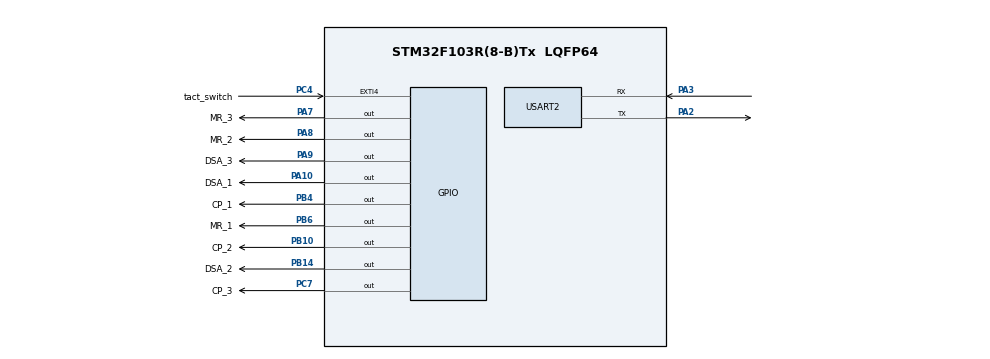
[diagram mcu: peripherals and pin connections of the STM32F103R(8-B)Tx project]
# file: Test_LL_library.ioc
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Mcu.Family=STM32F1
Mcu.Name=STM32F103R(8-B)Tx
Mcu.Package=LQFP64
NVIC.EXTI4_IRQn=true\:0\:0\:false\:false\:true\:true\:true\:true
NVIC.PriorityGroup=NVIC_PRIORITYGROUP_4
NVIC.TIM3_IRQn=true\:0\:0\:false\:false\:true\:true\:true\:true
PA10.GPIO_Label=DSA_1
PA10.Signal=GPIO_Output
PA13.GPIO_Label=TMS
PA13.Mode=Serial_Wire
PA13.Signal=SYS_JTMS-SWDIO
PA14.GPIO_Label=TCK
PA14.Mode=Serial_Wire
PA14.Signal=SYS_JTCK-SWCLK
PA2.Mode=Asynchronous
PA2.Signal=USART2_TX
PA3.Mode=Asynchronous
PA3.Signal=USART2_RX
PA7.GPIO_Label=MR_3
PA7.Signal=GPIO_Output
PA8.GPIO_Label=MR_2
PA8.Signal=GPIO_Output
PA9.GPIO_Label=DSA_3
PA9.Signal=GPIO_Output
PB10.GPIO_Label=CP_2
PB10.Signal=GPIO_Output
PB14.GPIO_Label=DSA_2
PB14.Signal=GPIO_Output
PB3.Signal=SYS_JTDO-TRACESWO
PB4.GPIO_Label=CP_1
PB4.Signal=GPIO_Output
PB6.GPIO_Label=MR_1
PB6.Signal=GPIO_Output
PC4.GPIO_Label=tact_switch
PC4.GPIO_ModeDefaultEXTI=GPIO_MODE_IT_FALLING
PC4.GPIO_PuPd=GPIO_NOPULL
PC4.Signal=GPXTI4
PC7.GPIO_Label=CP_3
PC7.Signal=GPIO_Output
ProjectManager.HeapSize=0x200
ProjectManager.StackSize=0x400
ProjectManager.TargetToolchain=STM32CubeIDE
RCC.AHBFreq_Value=64000000
RCC.APB1CLKDivider=RCC_HCLK_DIV2
RCC.APB1Freq_Value=32000000
RCC.APB1TimFreq_Value=64000000
RCC.APB2Freq_Value=64000000
RCC.APB2TimFreq_Value=64000000
RCC.HCLKFreq_Value=64000000
RCC.PLLMUL=RCC_PLL_MUL16
RCC.RTCClockSelection=RCC_RTCCLKSOURCE_LSE
RCC.SYSCLKFreq_VALUE=64000000
RCC.SYSCLKSource=RCC_SYSCLKSOURCE_PLLCLK
RCC.USBFreq_Value=64000000
TIM2.Period=65535
TIM2.Prescaler=63
TIM2.TIM_MasterOutputTrigger=TIM_TRGO_RESET
TIM2.TIM_MasterSlaveMode=TIM_MASTERSLAVEMODE_DISABLE
TIM3.Period=200
TIM3.Prescaler=64000-1
USART2.VirtualMode=VM_ASYNC
VP_TIM2_VS_ClockSourceINT.Mode=Internal
VP_TIM3_VS_ClockSourceINT.Mode=Internal
board=NUCLEO-F103RB

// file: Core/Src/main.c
/* USER CODE BEGIN Header */
/**
  ******************************************************************************
  * @file           : main.c
  * @brief          : Main program body
  ******************************************************************************
  * @attention
  *
  * Copyright (c) 2024 STMicroelectronics.
  * All rights reserved.
  *
  * This software is licensed under terms that can be found in the LICENSE file
  * in the root directory of this software component.
  * If no LICENSE file comes with this software, it is provided AS-IS.
  *
  ******************************************************************************
  */
/* USER CODE END Header */
#include "main.h"

/* USER CODE BEGIN PV */
unsigned char dotMatrixBoard_yellow[ROWS][COLS] = {
		  {1, 1, 0, 0, 0, 0, 1, 1},
		  {1, 1, 0, 0, 0, 0, 1, 1},
		  {0, 0, 1, 0, 0, 0, 0, 0},
		  {0, 0, 0, 0, 0, 0, 0, 0},
		  {0, 0, 0, 0, 0, 0, 0, 0},
		  {0, 0, 0, 0, 0, 0, 0, 0},
		  {0, 0, 0, 0, 0, 0, 0, 0},
		  {0, 0, 0, 0, 0, 0, 0, 0}
  };
  unsigned char dotMatrixBoard_red[ROWS][COLS] = {
  		  {0, 0, 0, 0, 0, 0, 0, 0},
  		  {0, 0, 0, 0, 0, 0, 0, 0},
  		  {0, 0, 1, 0, 0, 0, 0, 0},
  		  {0, 0, 0, 0, 0, 0, 0, 0},
  		  {0, 0, 0, 0, 0, 0, 0, 0},
  		  {0, 0, 0, 0, 0, 0, 0, 0},
  		  {1, 1, 0, 0, 0, 0, 1, 1},
  		  {1, 1, 0, 0, 0, 0, 1, 1}
    };

  int next_yellow_yes = 0;
  int next_red_yes=0;
/* USER CODE END PV */

void SystemClock_Config(void);
static void MX_GPIO_Init(void);
static void MX_USART2_UART_Init(void);
static void MX_TIM2_Init(void);
static void MX_TIM3_Init(void);

/* USER CODE BEGIN 0 */
int time_gap=1;
char buffer_[50];
/* USER CODE END 0 */

int main(void)
{

  /* MCU Configuration--------------------------------------------------------*/

  /* Reset of all peripherals, Initializes the Flash interface and the Systick. */
  LL_APB2_GRP1_EnableClock(LL_APB2_GRP1_PERIPH_AFIO);
  LL_APB1_GRP1_EnableClock(LL_APB1_GRP1_PERIPH_PWR);

  /* System interrupt init*/
  NVIC_SetPriorityGrouping(NVIC_PRIORITYGROUP_4);

  /** NOJTAG: JTAG-DP Disabled and SW-DP Enabled
  */
  LL_GPIO_AF_Remap_SWJ_NOJTAG();

  /* Configure the system clock */
  SystemClock_Config();

  /* Initialize all configured peripherals */
  MX_GPIO_Init();
  MX_USART2_UART_Init();
  MX_TIM2_Init();
  MX_TIM3_Init();
  /* USER CODE BEGIN 2 */

  int count=0;
  char buffer_[15];
  char buffer_2[15];

  //write_serial_in_parallel_out_register(data_8bit_ex12);
//  write_serial_in_parallel_out_register_minus(0b10011001);
//  write_serial_in_parallel_out_register_plus(0b01000000);
//
//  write_serial_in_parallel_out_register_minus(0b00000000);
//  write_serial_in_parallel_out_register_plus(0b00100000);

  //WRITE_REG(TIM2->CCR1, 100);

  //LL_TIM_DisableIT_UPDATE(TIM2);
  //LL_TIM_EnableIT_CC1(TIM2);  //TIM2->DIER register CC1IE bit. (ENABLE)
  //LL_TIM_CC_EnableChannel(TIM2, LL_TIM_CHANNEL_CH1); //CCER register CC1E bit. (ENABLE)
  LL_TIM_EnableIT_UPDATE(TIM3); //TIM3->DIER register UIE bit (ENABLE)

  /* choose to which to Off color */
  //write_serial_in_parallel_out_register_minus_red(0b11111111);
  //write_serial_in_parallel_out_register_minus_yellow(0b11111111);

  /* USER CODE END 2 */

  /* Infinite loop */
  /* USER CODE BEGIN WHILE */
  while (1)
  {

	  //row:0
	  write_serial_in_parallel_out_register_plus(0b10000000);
	  write_serial_in_parallel_out_register_minus_yellow(rowToBinary(dotMatrixBoard_yellow, 0));
	  write_serial_in_parallel_out_register_minus_red(rowToBinary(dotMatrixBoard_red, 0));
	  LL_mDelay(1);
	  //row:1
	  write_serial_in_parallel_out_register_plus(0b01000000);
	  write_serial_in_parallel_out_register_minus_yellow(rowToBinary(dotMatrixBoard_yellow, 1));
	  write_serial_in_parallel_out_register_minus_red(rowToBinary(dotMatrixBoard_red, 1));
	  LL_mDelay(1);
	  //row:2
	  write_serial_in_parallel_out_register_plus(0b00100000);
	  write_serial_in_parallel_out_register_minus_yellow(rowToBinary(dotMatrixBoard_yellow, 2));
	  write_serial_in_parallel_out_register_minus_red(rowToBinary(dotMatrixBoard_red, 2));
	  LL_mDelay(1);
	  //row:3
	  write_serial_in_parallel_out_register_plus(0b00010000);
	  write_serial_in_parallel_out_register_minus_yellow(rowToBinary(dotMatrixBoard_yellow, 3));
	  write_serial_in_parallel_out_register_minus_red(rowToBinary(dotMatrixBoard_red, 3));
	  LL_mDelay(1);
	  //row:4
	  write_serial_in_parallel_out_register_plus(0b00001000);
	  write_serial_in_parallel_out_register_minus_yellow(rowToBinary(dotMatrixBoard_yellow, 4));
	  write_serial_in_parallel_out_register_minus_red(rowToBinary(dotMatrixBoard_red, 4));
	  LL_mDelay(1);
	  //row:5
	  write_serial_in_parallel_out_register_plus(0b00000100);
	  write_serial_in_parallel_out_register_minus_yellow(rowToBinary(dotMatrixBoard_yellow, 5));
	  write_serial_in_parallel_out_register_minus_red(rowToBinary(dotMatrixBoard_red, 5));
	  LL_mDelay(1);
	  //row:6
	  write_serial_in_parallel_out_register_plus(0b00000010);
	  write_serial_in_parallel_out_register_minus_yellow(rowToBinary(dotMatrixBoard_yellow, 6));
	  write_serial_in_parallel_out_register_minus_red(rowToBinary(dotMatrixBoard_red, 6));
	  LL_mDelay(1);
	  //row:7
	  write_serial_in_parallel_out_register_plus(0b00000001);
	  write_serial_in_parallel_out_register_minus_yellow(rowToBinary(dotMatrixBoard_yellow, 7));
	  write_serial_in_parallel_out_register_minus_red(rowToBinary(dotMatrixBoard_red, 7));
	  LL_mDelay(1);

//	  sprintf(buffer_, "%d", count);
//	  UART2_TX_string("count : ");
//	  UART2_TX_string(buffer_);
//	  UART2_TX_string("\r\n");

    /* USER CODE END WHILE */

    /* USER CODE BEGIN 3 */
  }  //while loop
  /* USER CODE END 3 */
}

void SystemClock_Config(void)
{
  LL_FLASH_SetLatency(LL_FLASH_LATENCY_2);
  while(LL_FLASH_GetLatency()!= LL_FLASH_LATENCY_2)
  {
  }
  LL_RCC_HSI_SetCalibTrimming(16);
  LL_RCC_HSI_Enable();

   /* Wait till HSI is ready */
  while(LL_RCC_HSI_IsReady() != 1)
  {

  }
  LL_RCC_PLL_ConfigDomain_SYS(LL_RCC_PLLSOURCE_HSI_DIV_2, LL_RCC_PLL_MUL_16);
  LL_RCC_PLL_Enable();

   /* Wait till PLL is ready */
  while(LL_RCC_PLL_IsReady() != 1)
  {

  }
  LL_RCC_SetAHBPrescaler(LL_RCC_SYSCLK_DIV_1);
  LL_RCC_SetAPB1Prescaler(LL_RCC_APB1_DIV_2);
  LL_RCC_SetAPB2Prescaler(LL_RCC_APB2_DIV_1);
  LL_RCC_SetSysClkSource(LL_RCC_SYS_CLKSOURCE_PLL);

   /* Wait till System clock is ready */
  while(LL_RCC_GetSysClkSource() != LL_RCC_SYS_CLKSOURCE_STATUS_PLL)
  {

  }
  LL_Init1msTick(64000000);
  LL_SetSystemCoreClock(64000000);
}

static void MX_TIM2_Init(void)
{

  LL_TIM_InitTypeDef TIM_InitStruct = {0};

  /* Peripheral clock enable */
  LL_APB1_GRP1_EnableClock(LL_APB1_GRP1_PERIPH_TIM2);

  TIM_InitStruct.Prescaler = 63;
  TIM_InitStruct.CounterMode = LL_TIM_COUNTERMODE_UP;
  TIM_InitStruct.Autoreload = 65535;
  TIM_InitStruct.ClockDivision = LL_TIM_CLOCKDIVISION_DIV1;
  LL_TIM_Init(TIM2, &TIM_InitStruct);
  LL_TIM_DisableARRPreload(TIM2);
  LL_TIM_SetClockSource(TIM2, LL_TIM_CLOCKSOURCE_INTERNAL);
  LL_TIM_SetTriggerOutput(TIM2, LL_TIM_TRGO_RESET);
  LL_TIM_DisableMasterSlaveMode(TIM2);

}

static void MX_TIM3_Init(void)
{

  LL_TIM_InitTypeDef TIM_InitStruct = {0};

  /* Peripheral clock enable */
  LL_APB1_GRP1_EnableClock(LL_APB1_GRP1_PERIPH_TIM3);

  /* TIM3 interrupt Init */
  NVIC_SetPriority(TIM3_IRQn, NVIC_EncodePriority(NVIC_GetPriorityGrouping(),0, 0));
  NVIC_EnableIRQ(TIM3_IRQn);

  TIM_InitStruct.Prescaler = 64000-LL_TIM_IC_FILTER_FDIV1_N2;
  TIM_InitStruct.CounterMode = LL_TIM_COUNTERMODE_UP;
  TIM_InitStruct.Autoreload = 200;
  TIM_InitStruct.ClockDivision = LL_TIM_CLOCKDIVISION_DIV1;
  LL_TIM_Init(TIM3, &TIM_InitStruct);
  LL_TIM_DisableARRPreload(TIM3);
  LL_TIM_SetClockSource(TIM3, LL_TIM_CLOCKSOURCE_INTERNAL);
  LL_TIM_SetTriggerOutput(TIM3, LL_TIM_TRGO_RESET);
  LL_TIM_DisableMasterSlaveMode(TIM3);

}

static void MX_USART2_UART_Init(void)
{

  LL_USART_InitTypeDef USART_InitStruct = {0};

  LL_GPIO_InitTypeDef GPIO_InitStruct = {0};

  /* Peripheral clock enable */
  LL_APB1_GRP1_EnableClock(LL_APB1_GRP1_PERIPH_USART2);

  LL_APB2_GRP1_EnableClock(LL_APB2_GRP1_PERIPH_GPIOA);
  /**USART2 GPIO Configuration
  PA2   ------> USART2_TX
  PA3   ------> USART2_RX
  */
  GPIO_InitStruct.Pin = LL_GPIO_PIN_2;
  GPIO_InitStruct.Mode = LL_GPIO_MODE_ALTERNATE;
  GPIO_InitStruct.Speed = LL_GPIO_SPEED_FREQ_HIGH;
  GPIO_InitStruct.OutputType = LL_GPIO_OUTPUT_PUSHPULL;
  LL_GPIO_Init(GPIOA, &GPIO_InitStruct);

  GPIO_InitStruct.Pin = LL_GPIO_PIN_3;
  GPIO_InitStruct.Mode = LL_GPIO_MODE_FLOATING;
  LL_GPIO_Init(GPIOA, &GPIO_InitStruct);

  USART_InitStruct.BaudRate = 115200;
  USART_InitStruct.DataWidth = LL_USART_DATAWIDTH_8B;
  USART_InitStruct.StopBits = LL_USART_STOPBITS_1;
  USART_InitStruct.Parity = LL_USART_PARITY_NONE;
  USART_InitStruct.TransferDirection = LL_USART_DIRECTION_TX_RX;
  USART_InitStruct.HardwareFlowControl = LL_USART_HWCONTROL_NONE;
  USART_InitStruct.OverSampling = LL_USART_OVERSAMPLING_16;
  LL_USART_Init(USART2, &USART_InitStruct);
  LL_USART_ConfigAsyncMode(USART2);
  LL_USART_Enable(USART2);

}

static void MX_GPIO_Init(void)
{
  LL_EXTI_InitTypeDef EXTI_InitStruct = {0};
  LL_GPIO_InitTypeDef GPIO_InitStruct = {0};

  /* GPIO Ports Clock Enable */
  LL_APB2_GRP1_EnableClock(LL_APB2_GRP1_PERIPH_GPIOA);
  LL_APB2_GRP1_EnableClock(LL_APB2_GRP1_PERIPH_GPIOC);
  LL_APB2_GRP1_EnableClock(LL_APB2_GRP1_PERIPH_GPIOB);

  /**/
  LL_GPIO_ResetOutputPin(GPIOA, MR_3_Pin|MR_2_Pin|DSA_3_Pin|DSA_1_Pin);

  /**/
  LL_GPIO_ResetOutputPin(GPIOB, CP_2_Pin|DSA_2_Pin|CP_1_Pin|MR_1_Pin);

  /**/
  LL_GPIO_ResetOutputPin(CP_3_GPIO_Port, CP_3_Pin);

  /**/
  GPIO_InitStruct.Pin = MR_3_Pin|MR_2_Pin|DSA_3_Pin|DSA_1_Pin;
  GPIO_InitStruct.Mode = LL_GPIO_MODE_OUTPUT;
  GPIO_InitStruct.Speed = LL_GPIO_SPEED_FREQ_LOW;
  GPIO_InitStruct.OutputType = LL_GPIO_OUTPUT_PUSHPULL;
  LL_GPIO_Init(GPIOA, &GPIO_InitStruct);

  /**/
  GPIO_InitStruct.Pin = CP_2_Pin|DSA_2_Pin|CP_1_Pin|MR_1_Pin;
  GPIO_InitStruct.Mode = LL_GPIO_MODE_OUTPUT;
  GPIO_InitStruct.Speed = LL_GPIO_SPEED_FREQ_LOW;
  GPIO_InitStruct.OutputType = LL_GPIO_OUTPUT_PUSHPULL;
  LL_GPIO_Init(GPIOB, &GPIO_InitStruct);

  /**/
  GPIO_InitStruct.Pin = CP_3_Pin;
  GPIO_InitStruct.Mode = LL_GPIO_MODE_OUTPUT;
  GPIO_InitStruct.Speed = LL_GPIO_SPEED_FREQ_LOW;
  GPIO_InitStruct.OutputType = LL_GPIO_OUTPUT_PUSHPULL;
  LL_GPIO_Init(CP_3_GPIO_Port, &GPIO_InitStruct);

  /**/
  LL_GPIO_AF_SetEXTISource(LL_GPIO_AF_EXTI_PORTC, LL_GPIO_AF_EXTI_LINE4);

  /**/
  EXTI_InitStruct.Line_0_31 = LL_EXTI_LINE_4;
  EXTI_InitStruct.LineCommand = ENABLE;
  EXTI_InitStruct.Mode = LL_EXTI_MODE_IT;
  EXTI_InitStruct.Trigger = LL_EXTI_TRIGGER_FALLING;
  LL_EXTI_Init(&EXTI_InitStruct);

  /**/
  LL_GPIO_SetPinMode(tact_switch_GPIO_Port, tact_switch_Pin, LL_GPIO_MODE_FLOATING);

  /* EXTI interrupt init*/
  NVIC_SetPriority(EXTI4_IRQn, NVIC_EncodePriority(NVIC_GetPriorityGrouping(),0, 0));
  NVIC_EnableIRQ(EXTI4_IRQn);

}

/* USER CODE BEGIN 4 */

void led_blink_example_code(void){

	LL_GPIO_SetOutputPin(GPIOA, LL_GPIO_PIN_9);
	LL_GPIO_SetOutputPin(GPIOA, LL_GPIO_PIN_10);
	LL_mDelay(100);  //1 second delay.
	LL_GPIO_ResetOutputPin(GPIOA, LL_GPIO_PIN_9);
	LL_GPIO_ResetOutputPin(GPIOA, LL_GPIO_PIN_10);
	LL_mDelay(100);  //1 second delay.

}

void UART2_TX_string(char* str){
	while(*str){
		while(!LL_USART_IsActiveFlag_TXE(USART2));

		LL_USART_TransmitData8(USART2, *str);
		str++;
	}
}

void led_serial_in_parallel_out_example_1(void){
	LL_GPIO_SetOutputPin(GPIOB, LL_GPIO_PIN_5); //data=high
	LL_mDelay(100);

	LL_GPIO_SetOutputPin(GPIOA, LL_GPIO_PIN_10);  //clock pulse 1
	LL_mDelay(100);
	LL_GPIO_ResetOutputPin(GPIOA, LL_GPIO_PIN_10);
	LL_mDelay(100);
	LL_GPIO_SetOutputPin(GPIOA, LL_GPIO_PIN_10);  //clock pulse 2
	LL_mDelay(100);
	LL_GPIO_ResetOutputPin(GPIOA, LL_GPIO_PIN_10);
	LL_mDelay(100);
	LL_GPIO_SetOutputPin(GPIOA, LL_GPIO_PIN_10);  //clock pulse 3
	LL_mDelay(100);
	LL_GPIO_ResetOutputPin(GPIOA, LL_GPIO_PIN_10);
	LL_mDelay(100);

	LL_GPIO_ResetOutputPin(GPIOB, LL_GPIO_PIN_5); //data=low
	LL_mDelay(100);

	LL_GPIO_SetOutputPin(GPIOA, LL_GPIO_PIN_10);  //clock pulse 1
	LL_mDelay(100);
	LL_GPIO_ResetOutputPin(GPIOA, LL_GPIO_PIN_10);
	LL_mDelay(100);
	LL_GPIO_SetOutputPin(GPIOA, LL_GPIO_PIN_10);  //clock pulse 2
	LL_mDelay(100);
	LL_GPIO_ResetOutputPin(GPIOA, LL_GPIO_PIN_10);
	LL_mDelay(100);
	LL_GPIO_SetOutputPin(GPIOA, LL_GPIO_PIN_10);  //clock pulse 3
	LL_mDelay(100);
	LL_GPIO_ResetOutputPin(GPIOA, LL_GPIO_PIN_10);
	LL_mDelay(100);
}

void write_serial_in_parallel_out_register_plus(unsigned char data){
	/*
	 *                Q0  Q1  Q2  Q3  Q4  Q5  Q6  Q7(------>)
	 *      data      1    1   0   0   0  0   0   1
	 *
	 *
	 */
	//all reset
	LL_GPIO_ResetOutputPin(GPIOA, LL_GPIO_PIN_8);
	delay_us(1);
	LL_GPIO_SetOutputPin(GPIOA, LL_GPIO_PIN_8);

	//Q7
	unsigned int bitValue = bitRead(data, 0);

	switch(bitValue){
		case 0 :
			LL_GPIO_ResetOutputPin(GPIOB, LL_GPIO_PIN_14); //data=low
			break;

		case 1 :
			LL_GPIO_SetOutputPin(GPIOB, LL_GPIO_PIN_14); //data=high
			break;

	}

	delay_us(1);

	LL_GPIO_SetOutputPin(GPIOB, LL_GPIO_PIN_10);  //clock pulse 1

	delay_us(1);
	LL_GPIO_ResetOutputPin(GPIOB, LL_GPIO_PIN_10);

	delay_us(1);

	//Q6
	bitValue = bitRead(data, 1);
	switch(bitValue){
		case 0 :
			LL_GPIO_ResetOutputPin(GPIOB, LL_GPIO_PIN_14); //data=low
			break;

		case 1 :
			LL_GPIO_SetOutputPin(GPIOB, LL_GPIO_PIN_14); //data=high
			break;

	}

	delay_us(1);

	LL_GPIO_SetOutputPin(GPIOB, LL_GPIO_PIN_10);  //clock pulse 2

	delay_us(1);
	LL_GPIO_ResetOutputPin(GPIOB, LL_GPIO_PIN_10);

	delay_us(1);

	//Q5
	bitValue = bitRead(data, 2);
	switch(bitValue){
		case 0 :
			LL_GPIO_ResetOutputPin(GPIOB, LL_GPIO_PIN_14); //data=low
			break;

		case 1 :
			LL_GPIO_SetOutputPin(GPIOB, LL_GPIO_PIN_14); //data=high
			break;

	}

	delay_us(1);
	LL_GPIO_SetOutputPin(GPIOB, LL_GPIO_PIN_10);  //clock pulse 3

	delay_us(1);
	LL_GPIO_ResetOutputPin(GPIOB, LL_GPIO_PIN_10);

	delay_us(1);

	//Q4
	bitValue = bitRead(data, 3);
	switch(bitValue){
		case 0 :
			LL_GPIO_ResetOutputPin(GPIOB, LL_GPIO_PIN_14); //data=low
			break;

		case 1 :
			LL_GPIO_SetOutputPin(GPIOB, LL_GPIO_PIN_14); //data=high
			break;

	}

	delay_us(1);

	LL_GPIO_SetOutputPin(GPIOB, LL_GPIO_PIN_10);  //clock pulse 4

	delay_us(1);
	LL_GPIO_ResetOutputPin(GPIOB, LL_GPIO_PIN_10);

	delay_us(1);

	//Q3
	bitValue = bitRead(data, 4);
	switch(bitValue){
		case 0 :
			LL_GPIO_ResetOutputPin(GPIOB, LL_GPIO_PIN_14); //data=low
			break;

		case 1 :
			LL_GPIO_SetOutputPin(GPIOB, LL_GPIO_PIN_14); //data=high
			break;

	}

	delay_us(1);

	LL_GPIO_SetOutputPin(GPIOB, LL_GPIO_PIN_10);  //clock pulse 5

	delay_us(1);
	LL_GPIO_ResetOutputPin(GPIOB, LL_GPIO_PIN_10);

	delay_us(1);

	//Q2
	bitValue = bitRead(data, 5);
	switch(bitValue){
		case 0 :
			LL_GPIO_ResetOutputPin(GPIOB, LL_GPIO_PIN_14); //data=low
			break;

		case 1 :
			LL_GPIO_SetOutputPin(GPIOB, LL_GPIO_PIN_14); //data=high
			break;

	}

	delay_us(1);
	LL_GPIO_SetOutputPin(GPIOB, LL_GPIO_PIN_10);  //clock pulse 6

	delay_us(1);
	LL_GPIO_ResetOutputPin(GPIOB, LL_GPIO_PIN_10);

	delay_us(1);

	//Q1
	bitValue = bitRead(data, 6);
	switch(bitValue){
		case 0 :
			LL_GPIO_ResetOutputPin(GPIOB, LL_GPIO_PIN_14); //data=low
			break;

		case 1 :
			LL_GPIO_SetOutputPin(GPIOB, LL_GPIO_PIN_14); //data=high
			break;

	}

	delay_us(1);

	LL_GPIO_SetOutputPin(GPIOB, LL_GPIO_PIN_10);  //clock pulse 7

	delay_us(1);
	LL_GPIO_ResetOutputPin(GPIOB, LL_GPIO_PIN_10);

	delay_us(1);

	//Q0
	bitValue = bitRead(data, 7);
	switch(bitValue){
		case 0 :
			LL_GPIO_ResetOutputPin(GPIOB, LL_GPIO_PIN_14); //data=low
			break;

		case 1 :
			LL_GPIO_SetOutputPin(GPIOB, LL_GPIO_PIN_14); //data=high
			break;

	}

	delay_us(1);

	LL_GPIO_SetOutputPin(GPIOB, LL_GPIO_PIN_10);  //clock pulse 8

	delay_us(1);
	LL_GPIO_ResetOutputPin(GPIOB, LL_GPIO_PIN_10);

	delay_us(1);

}

void write_serial_in_parallel_out_register_minus(unsigned char data){
	/*
	 *                Q0  Q1  Q2  Q3  Q4  Q5  Q6  Q7(------>)
	 *      data      1    1   0   0   0  0   0   1
	 *
	 *
	 */
	//all reset
	LL_GPIO_ResetOutputPin(GPIOA, LL_GPIO_PIN_6);
	//LL_mDelay(2);
	//delayus(100);
	//LL_mDelay(time_gap);
	delay_us(1);
	LL_GPIO_SetOutputPin(GPIOA, LL_GPIO_PIN_6);

	//Q7
	unsigned int bitValue = bitRead(data, 0);

	switch(bitValue){
		case 0 :
			LL_GPIO_ResetOutputPin(GPIOB, LL_GPIO_PIN_6); //data=low
			break;

		case 1 :
			LL_GPIO_SetOutputPin(GPIOB, LL_GPIO_PIN_6); //data=high
			break;

	}
	//LL_mDelay(1);
	//delayus(100);
	//LL_mDelay(time_gap);
	delay_us(1);

	LL_GPIO_SetOutputPin(GPIOA, LL_GPIO_PIN_7);  //clock pulse 1
	//LL_mDelay(1);
	//delayus(100);
	//LL_mDelay(time_gap);
	delay_us(1);
	LL_GPIO_ResetOutputPin(GPIOA, LL_GPIO_PIN_7);
	//LL_mDelay(1);
	//delayus(100);
	//LL_mDelay(time_gap);
	delay_us(1);

	//Q6
	bitValue = bitRead(data, 1);
	switch(bitValue){
		case 0 :
			LL_GPIO_ResetOutputPin(GPIOB, LL_GPIO_PIN_6); //data=low
			break;

		case 1 :
			LL_GPIO_SetOutputPin(GPIOB, LL_GPIO_PIN_6); //data=high
			break;

	}
	//LL_mDelay(1);
	//delayus(100);
	//LL_mDelay(time_gap);
	delay_us(1);

	LL_GPIO_SetOutputPin(GPIOA, LL_GPIO_PIN_7);  //clock pulse 2
	//LL_mDelay(1);
	//delayus(100);
	//LL_mDelay(time_gap);
	delay_us(1);
	LL_GPIO_ResetOutputPin(GPIOA, LL_GPIO_PIN_7);
	//LL_mDelay(1);
	//delayus(100);
	//LL_mDelay(time_gap);
	delay_us(1);

	//Q5
	bitValue = bitRead(data, 2);
	switch(bitValue){
		case 0 :
			LL_GPIO_ResetOutputPin(GPIOB, LL_GPIO_PIN_6); //data=low
			break;

		case 1 :
			LL_GPIO_SetOutputPin(GPIOB, LL_GPIO_PIN_6); //data=high
			break;

	}
	//LL_mDelay(2);
	//delayus(100);
	//LL_mDelay(time_gap);
	delay_us(1);

	LL_GPIO_SetOutputPin(GPIOA, LL_GPIO_PIN_7);  //clock pulse 3
	//LL_mDelay(1);
	//delayus(100);
	//LL_mDelay(time_gap);
	delay_us(1);
	LL_GPIO_ResetOutputPin(GPIOA, LL_GPIO_PIN_7);
	//LL_mDelay(1);
	//delayus(100);
	//LL_mDelay(time_gap);
	delay_us(1);

	//Q4
	bitValue = bitRead(data, 3);
	switch(bitValue){
		case 0 :
			LL_GPIO_ResetOutputPin(GPIOB, LL_GPIO_PIN_6); //data=low
			break;

		case 1 :
			LL_GPIO_SetOutputPin(GPIOB, LL_GPIO_PIN_6); //data=high
			break;

	}
	//LL_mDelay(2);
	//delayus(100);
	//LL_mDelay(time_gap);
	delay_us(1);
	LL_GPIO_SetOutputPin(GPIOA, LL_GPIO_PIN_7);  //clock pulse 4
	//LL_mDelay(1);
	//delayus(100);
	//LL_mDelay(time_gap);
	delay_us(1);
	LL_GPIO_ResetOutputPin(GPIOA, LL_GPIO_PIN_7);
	//LL_mDelay(1);
	//delayus(100);
	//LL_mDelay(time_gap);
	delay_us(1);

	//Q3
	bitValue = bitRead(data, 4);
	switch(bitValue){
		case 0 :
			LL_GPIO_ResetOutputPin(GPIOB, LL_GPIO_PIN_6); //data=low
			break;

		case 1 :
			LL_GPIO_SetOutputPin(GPIOB, LL_GPIO_PIN_6); //data=high
			break;

	}
	//LL_mDelay(2);
	//delayus(100);
	//LL_mDelay(time_gap);
	delay_us(1);

	LL_GPIO_SetOutputPin(GPIOA, LL_GPIO_PIN_7);  //clock pulse 5
	//LL_mDelay(1);
	//delayus(100);
	//LL_mDelay(time_gap);
	delay_us(1);
	LL_GPIO_ResetOutputPin(GPIOA, LL_GPIO_PIN_7);
	//LL_mDelay(1);
	//delayus(100);
	//LL_mDelay(time_gap);
	delay_us(1);

	//Q2
	bitValue = bitRead(data, 5);
	switch(bitValue){
		case 0 :
			LL_GPIO_ResetOutputPin(GPIOB, LL_GPIO_PIN_6); //data=low
			break;

		case 1 :
			LL_GPIO_SetOutputPin(GPIOB, LL_GPIO_PIN_6); //data=high
			break;

	}
	//LL_mDelay(2);
	//delayus(100);
	//LL_mDelay(time_gap);
	delay_us(1);
	LL_GPIO_SetOutputPin(GPIOA, LL_GPIO_PIN_7);  //clock pulse 6
	//LL_mDelay(1);
	//delayus(100);
	//LL_mDelay(time_gap);
	delay_us(1);
	LL_GPIO_ResetOutputPin(GPIOA, LL_GPIO_PIN_7);
	//LL_mDelay(1);
	//delayus(100);
	//LL_mDelay(time_gap);
	delay_us(1);

	//Q1
	bitValue = bitRead(data, 6);
	switch(bitValue){
		case 0 :
			LL_GPIO_ResetOutputPin(GPIOB, LL_GPIO_PIN_6); //data=low
			break;

		case 1 :
			LL_GPIO_SetOutputPin(GPIOB, LL_GPIO_PIN_6); //data=high
			break;

	}
	//LL_mDelay(2);
	//delayus(100);
	//LL_mDelay(time_gap);
	delay_us(1);

	LL_GPIO_SetOutputPin(GPIOA, LL_GPIO_PIN_7);  //clock pulse 7
	//LL_mDelay(1);
	//delayus(100);
	//LL_mDelay(time_gap);
	delay_us(1);
	LL_GPIO_ResetOutputPin(GPIOA, LL_GPIO_PIN_7);
	//LL_mDelay(1);
	//delayus(100);
	//LL_mDelay(time_gap);
	delay_us(1);

	//Q0
	bitValue = bitRead(data, 7);
	switch(bitValue){
		case 0 :
			LL_GPIO_ResetOutputPin(GPIOB, LL_GPIO_PIN_6); //data=low
			break;

		case 1 :
			LL_GPIO_SetOutputPin(GPIOB, LL_GPIO_PIN_6); //data=high
			break;

	}
	//LL_mDelay(2);
	//delayus(100);
	//LL_mDelay(time_gap);
	delay_us(1);

	LL_GPIO_SetOutputPin(GPIOA, LL_GPIO_PIN_7);  //clock pulse 8
	//LL_mDelay(1);
	//delayus(100);
	//LL_mDelay(time_gap);
	delay_us(1);
	LL_GPIO_ResetOutputPin(GPIOA, LL_GPIO_PIN_7);
	//LL_mDelay(1);
	//delayus(100);
	//LL_mDelay(time_gap);
	delay_us(1);

}

void write_serial_in_parallel_out_register_minus_yellow(unsigned char data){
	/*
	 *                Q0  Q1  Q2  Q3  Q4  Q5  Q6  Q7(------>)
	 *      data      1    1   0   0   0  0   0   1
	 *
	 *
	 */
	//all reset
	LL_GPIO_ResetOutputPin(GPIOB, LL_GPIO_PIN_6);
	delay_us(1);
	LL_GPIO_SetOutputPin(GPIOB, LL_GPIO_PIN_6);

	//Q7
	unsigned int bitValue = bitRead(data, 0);

	switch(bitValue){
		case 0 :
			LL_GPIO_ResetOutputPin(GPIOA, LL_GPIO_PIN_10); //data=low
			break;

		case 1 :
			LL_GPIO_SetOutputPin(GPIOA, LL_GPIO_PIN_10); //data=high
			break;

	}

	//delay_us(1);

	LL_GPIO_SetOutputPin(GPIOB, LL_GPIO_PIN_4);  //clock pulse 1

	delay_us(1);
	LL_GPIO_ResetOutputPin(GPIOB, LL_GPIO_PIN_4);

	delay_us(1);

	//Q6
	bitValue = bitRead(data, 1);
	switch(bitValue){
		case 0 :
			LL_GPIO_ResetOutputPin(GPIOA, LL_GPIO_PIN_10); //data=low
			break;

		case 1 :
			LL_GPIO_SetOutputPin(GPIOA, LL_GPIO_PIN_10); //data=high
			break;

	}

	//delay_us(1);

	LL_GPIO_SetOutputPin(GPIOB, LL_GPIO_PIN_4);  //clock pulse 2

	delay_us(1);
	LL_GPIO_ResetOutputPin(GPIOB, LL_GPIO_PIN_4);

	delay_us(1);

	//Q5
	bitValue = bitRead(data, 2);
	switch(bitValue){
		case 0 :
			LL_GPIO_ResetOutputPin(GPIOA, LL_GPIO_PIN_10); //data=low
			break;

		case 1 :
			LL_GPIO_SetOutputPin(GPIOA, LL_GPIO_PIN_10); //data=high
			break;

	}

	//delay_us(1);

	LL_GPIO_SetOutputPin(GPIOB, LL_GPIO_PIN_4);  //clock pulse 3

	delay_us(1);
	LL_GPIO_ResetOutputPin(GPIOB, LL_GPIO_PIN_4);

	delay_us(1);

	//Q4
	bitValue = bitRead(data, 3);
	switch(bitValue){
		case 0 :
			LL_GPIO_ResetOutputPin(GPIOA, LL_GPIO_PIN_10); //data=low
			break;

		case 1 :
			LL_GPIO_SetOutputPin(GPIOA, LL_GPIO_PIN_10); //data=high
			break;

	}

	//delay_us(1);
	LL_GPIO_SetOutputPin(GPIOB, LL_GPIO_PIN_4);   //clock pulse 4

	delay_us(1);
	LL_GPIO_ResetOutputPin(GPIOB, LL_GPIO_PIN_4);

	delay_us(1);

	//Q3
	bitValue = bitRead(data, 4);
	switch(bitValue){
		case 0 :
			LL_GPIO_ResetOutputPin(GPIOA, LL_GPIO_PIN_10); //data=low
			break;

		case 1 :
			LL_GPIO_SetOutputPin(GPIOA, LL_GPIO_PIN_10); //data=high
			break;

	}

	//delay_us(1);

	LL_GPIO_SetOutputPin(GPIOB, LL_GPIO_PIN_4);  //clock pulse 5

	delay_us(1);
	LL_GPIO_ResetOutputPin(GPIOB, LL_GPIO_PIN_4);

	delay_us(1);

	//Q2
	bitValue = bitRead(data, 5);
	switch(bitValue){
		case 0 :
			LL_GPIO_ResetOutputPin(GPIOA, LL_GPIO_PIN_10); //data=low
			break;

		case 1 :
			LL_GPIO_SetOutputPin(GPIOA, LL_GPIO_PIN_10); //data=high
			break;

	}

	//delay_us(1);
	LL_GPIO_SetOutputPin(GPIOB, LL_GPIO_PIN_4);  //clock pulse 6

	delay_us(1);
	LL_GPIO_ResetOutputPin(GPIOB, LL_GPIO_PIN_4);

	delay_us(1);

	//Q1
	bitValue = bitRead(data, 6);
	switch(bitValue){
		case 0 :
			LL_GPIO_ResetOutputPin(GPIOA, LL_GPIO_PIN_10); //data=low
			break;

		case 1 :
			LL_GPIO_SetOutputPin(GPIOA, LL_GPIO_PIN_10); //data=high
			break;

	}

	//delay_us(1);

	LL_GPIO_SetOutputPin(GPIOB, LL_GPIO_PIN_4);  //clock pulse 7

	delay_us(1);
	LL_GPIO_ResetOutputPin(GPIOB, LL_GPIO_PIN_4);

	delay_us(1);

	//Q0
	bitValue = bitRead(data, 7);
	switch(bitValue){
		case 0 :
			LL_GPIO_ResetOutputPin(GPIOA, LL_GPIO_PIN_10); //data=low
			break;

		case 1 :
			LL_GPIO_SetOutputPin(GPIOA, LL_GPIO_PIN_10); //data=high
			break;

	}

	//delay_us(1);

	LL_GPIO_SetOutputPin(GPIOB, LL_GPIO_PIN_4);  //clock pulse 8

	delay_us(1);
	LL_GPIO_ResetOutputPin(GPIOB, LL_GPIO_PIN_4);

	delay_us(1);

}

void write_serial_in_parallel_out_register_minus_red(unsigned char data){
	/*
	 *                Q0  Q1  Q2  Q3  Q4  Q5  Q6  Q7(------>)
	 *      data      1    1   0   0   0  0   0   1
	 *
	 *
	 */
	//all reset
	LL_GPIO_ResetOutputPin(GPIOA, LL_GPIO_PIN_7);
	delay_us(1);
	LL_GPIO_SetOutputPin(GPIOA, LL_GPIO_PIN_7);

	//Q7
	unsigned int bitValue = bitRead(data, 0);

	switch(bitValue){
		case 0 :
			LL_GPIO_ResetOutputPin(GPIOA, LL_GPIO_PIN_9); //data=low
			break;

		case 1 :
			LL_GPIO_SetOutputPin(GPIOA, LL_GPIO_PIN_9); //data=high
			break;

	}

	delay_us(1);

	LL_GPIO_SetOutputPin(GPIOC, LL_GPIO_PIN_7);  //clock pulse 1

	delay_us(1);
	LL_GPIO_ResetOutputPin(GPIOC, LL_GPIO_PIN_7);

	delay_us(1);

	//Q6
	bitValue = bitRead(data, 1);
	switch(bitValue){
		case 0 :
			LL_GPIO_ResetOutputPin(GPIOA, LL_GPIO_PIN_9); //data=low
			break;

		case 1 :
			LL_GPIO_SetOutputPin(GPIOA, LL_GPIO_PIN_9); //data=high
			break;

	}

	delay_us(1);

	LL_GPIO_SetOutputPin(GPIOC, LL_GPIO_PIN_7);  //clock pulse 2

	delay_us(1);
	LL_GPIO_ResetOutputPin(GPIOC, LL_GPIO_PIN_7);

	delay_us(1);

	//Q5
	bitValue = bitRead(data, 2);
	switch(bitValue){
		case 0 :
			LL_GPIO_ResetOutputPin(GPIOA, LL_GPIO_PIN_9); //data=low
			break;

		case 1 :
			LL_GPIO_SetOutputPin(GPIOA, LL_GPIO_PIN_9); //data=high
			break;

	}

	delay_us(1);

	LL_GPIO_SetOutputPin(GPIOC, LL_GPIO_PIN_7);  //clock pulse 3

	delay_us(1);
	LL_GPIO_ResetOutputPin(GPIOC, LL_GPIO_PIN_7);

	delay_us(1);

	//Q4
	bitValue = bitRead(data, 3);
	switch(bitValue){
		case 0 :
			LL_GPIO_ResetOutputPin(GPIOA, LL_GPIO_PIN_9); //data=low
			break;

		case 1 :
			LL_GPIO_SetOutputPin(GPIOA, LL_GPIO_PIN_9); //data=high
			break;

	}

	delay_us(1);
	LL_GPIO_SetOutputPin(GPIOC, LL_GPIO_PIN_7);   //clock pulse 4

	delay_us(1);
	LL_GPIO_ResetOutputPin(GPIOC, LL_GPIO_PIN_7);

	delay_us(1);

	//Q3
	bitValue = bitRead(data, 4);
	switch(bitValue){
		case 0 :
			LL_GPIO_ResetOutputPin(GPIOA, LL_GPIO_PIN_9); //data=low
			break;

		case 1 :
			LL_GPIO_SetOutputPin(GPIOA, LL_GPIO_PIN_9); //data=high
			break;

	}

	delay_us(1);

	LL_GPIO_SetOutputPin(GPIOC, LL_GPIO_PIN_7);  //clock pulse 5

	delay_us(1);
	LL_GPIO_ResetOutputPin(GPIOC, LL_GPIO_PIN_7);

	delay_us(1);

	//Q2
	bitValue = bitRead(data, 5);
	switch(bitValue){
		case 0 :
			LL_GPIO_ResetOutputPin(GPIOA, LL_GPIO_PIN_9); //data=low
			break;

		case 1 :
			LL_GPIO_SetOutputPin(GPIOA, LL_GPIO_PIN_9); //data=high
			break;

	}

	delay_us(1);
	LL_GPIO_SetOutputPin(GPIOC, LL_GPIO_PIN_7);  //clock pulse 6

	delay_us(1);
	LL_GPIO_ResetOutputPin(GPIOC, LL_GPIO_PIN_7);

	delay_us(1);

	//Q1
	bitValue = bitRead(data, 6);
	switch(bitValue){
		case 0 :
			LL_GPIO_ResetOutputPin(GPIOA, LL_GPIO_PIN_9); //data=low
			break;

		case 1 :
			LL_GPIO_SetOutputPin(GPIOA, LL_GPIO_PIN_9); //data=high
			break;

	}

	delay_us(1);

	LL_GPIO_SetOutputPin(GPIOC, LL_GPIO_PIN_7);  //clock pulse 7

	delay_us(1);
	LL_GPIO_ResetOutputPin(GPIOC, LL_GPIO_PIN_7);

	delay_us(1);

	//Q0
	bitValue = bitRead(data, 7);
	switch(bitValue){
		case 0 :
			LL_GPIO_ResetOutputPin(GPIOA, LL_GPIO_PIN_9); //data=low
			break;

		case 1 :
			LL_GPIO_SetOutputPin(GPIOA, LL_GPIO_PIN_9); //data=high
			break;

	}

	delay_us(1);

	LL_GPIO_SetOutputPin(GPIOC, LL_GPIO_PIN_7);  //clock pulse 8

	delay_us(1);
	LL_GPIO_ResetOutputPin(GPIOC, LL_GPIO_PIN_7);

	delay_us(1);

}

unsigned char rowToBinary(unsigned char (*ptr)[8], int row) {
	unsigned char binaryValue = 0;
	for (int col = 0; col < COLS; col++) {
		binaryValue |= (ptr[row][col] << (COLS - 1 - col));
	}
	binaryValue = ~binaryValue;

	return binaryValue;
}

void findCommonOnes(unsigned char(*board1)[COLS], unsigned char(*board2)[COLS], int rows, int cols) {
	//int orangeNowRow, orangeNowCol;
    // Iterating through the arrays to find the common positions with 1.
    for (int i = 0; i < rows; i++) {
        for (int j = 0; j < cols; j++) {
            if (board1[i][j] == 1 && board2[i][j] == 1) {
            	//orangeNowRow = i;
            	//orangeNowCol = j;
            	//Task1//
				if(next_yellow_yes == 1 || next_red_yes == 1){
					if(next_red_yes==1){
						board1[i][j]=0;
						board2[i][j]=1;
					}
					else{
						if(next_yellow_yes==1){
							board1[i][j]=1;
							board2[i][j]=0;
						}
				//Task1 end//
					}
					//Task2//
					//if next point is yellow or red?//
					if(j==7){
						//if next point is yellow?//
						if( board1[(i+1)%8][(j+1)%8] == 1 && board2[(i+1)%8][(j+1)%8] == 0 ){
							next_yellow_yes=1;
							next_red_yes=0;
						}
						else{
							//if next point is red?//
							if( board1[(i+1)%8][(j+1)%8] == 0 && board2[(i+1)%8][(j+1)%8] == 1 ){
								next_yellow_yes=0;
								next_red_yes=1;
							}
							//nothing//
							else{
								next_yellow_yes=0;
								next_red_yes=0;
							}
						}
					}
					else{
						if( (board1[i][(j+1)%8] == 1 && board2[i][(j+1)%8] == 0) || (board1[i][(j+1)%8] == 0 && board2[i][(j+1)%8] == 1)){
							//if next point is yellow?//
							if( board1[i][(j+1)%8] == 1 && board2[i][(j+1)%8] == 0 ){
								next_yellow_yes=1;
								next_red_yes=0;
							}
							else{
								//if next point is red?//
								if( board1[i][(j+1)%8] == 0 && board2[i][(j+1)%8] == 1 ){
									next_yellow_yes=0;
									next_red_yes=1;
								}
							}

						}
						//nothing//
						else{
							next_yellow_yes=0;
							next_red_yes=0;
						}
					}

					//Task2 end//
					//Task3//
					//apply orange color//
					if(j==7){
						board1[(i+1)%8][(j+1)%8]=1;
						board2[(i+1)%8][(j+1)%8]=1;
					}
					else{
						board1[i][(j+1)%8]=1;
						board2[i][(j+1)%8]=1;
					}
					//Task3 end//
				}
				else{
					//task1//
					board1[i][j]=0;
					board2[i][j]=0;
					//Task1 end//
					//Task2//
					//if next point is yellow or red?//
					//if next point is yellow or red?//
					if(j==7){
						//if next point is yellow?//
						if( board1[(i+1)%8][(j+1)%8] == 1 && board2[(i+1)%8][(j+1)%8] == 0 ){
							next_yellow_yes=1;
							next_red_yes=0;
						}
						else{
							//if next point is red?//
							if( board1[(i+1)%8][(j+1)%8] == 0 && board2[(i+1)%8][(j+1)%8] == 1 ){
								next_yellow_yes=0;
								next_red_yes=1;
							}
							//nothing//
							else{
								next_yellow_yes=0;
								next_red_yes=0;
							}
						}
					}
					else{
						if( (board1[i][(j+1)%8] == 1 && board2[i][(j+1)%8] == 0) || (board1[i][(j+1)%8] == 0 && board2[i][(j+1)%8] == 1)){
							//if next point is yellow?//
							if( board1[i][(j+1)%8] == 1 && board2[i][(j+1)%8] == 0 ){
								next_yellow_yes=1;
								next_red_yes=0;
							}
							else{
								//if next point is red?//
								if( board1[i][(j+1)%8] == 0 && board2[i][(j+1)%8] == 1 ){
									next_yellow_yes=0;
									next_red_yes=1;
								}
							}

						}
						//nothing//
						else{
							next_yellow_yes=0;
							next_red_yes=0;
						}
					}
					//Task2 end//
					//Task3//
					//apply orange color//
					if(j==7){
						board1[(i+1)%8][(j+1)%8]=1;
						board2[(i+1)%8][(j+1)%8]=1;
					}
					else{
						board1[i][(j+1)%8]=1;
						board2[i][(j+1)%8]=1;
					}
					//Task3 end//
				}

				return;
            }
        }
    }

}

static void inline delay_us(unsigned int delay){
	/*
	 * USAGE : please use delay variable that is ccr register.
	 */
	//char buffer_delay_us[20];  //make buffer

	TIM2->CNT = 0; //clear

	LL_TIM_EnableCounter(TIM2); //CR1 register CEN bit (ENABLE)

	while(TIM2->CNT < delay){
		//Loop until the counter value is greater or equal to the delay
//		sprintf(buffer_delay_us, "%ld", TIM2->CNT);
//
//		UART2_TX_string("TIM2->CNT : ");
//		UART2_TX_string(buffer_delay_us);
//		UART2_TX_string("\r\n");

	}

	LL_TIM_DisableCounter(TIM2);   //disable.

}

void heart_example_1(void){

	//row : 0

	 //row : 1
	write_serial_in_parallel_out_register_minus(0b10011001);
	write_serial_in_parallel_out_register_plus(0b01000000);
	LL_mDelay(2);
	//row : 2
	write_serial_in_parallel_out_register_minus(0b01111110);
	write_serial_in_parallel_out_register_plus(0b00100000);
	LL_mDelay(2);
	//row : 3
	write_serial_in_parallel_out_register_minus(0b01111110);
	write_serial_in_parallel_out_register_plus(0b00010000);
	LL_mDelay(2);
//		//row : 4
	write_serial_in_parallel_out_register_minus(0b10111101);
	write_serial_in_parallel_out_register_plus(0b00001000);
	LL_mDelay(2);
//		//row : 5
	write_serial_in_parallel_out_register_minus(0b11011011);
	write_serial_in_parallel_out_register_plus(0b00000100);
	LL_mDelay(2);
	//row : 6
	write_serial_in_parallel_out_register_minus(0b11100111);
	write_serial_in_parallel_out_register_plus(0b00000010);
	LL_mDelay(2);

	//row : 7

}

void heart_example_2(void){
	 //row : 0

	 //row : 1
	write_serial_in_parallel_out_register_minus(0b10011001);
	write_serial_in_parallel_out_register_plus(0b01000000);
	LL_mDelay(2);
	//row : 2
	write_serial_in_parallel_out_register_minus(0b00000000);
	write_serial_in_parallel_out_register_plus(0b00100000);
	LL_mDelay(2);
	//row : 3
	write_serial_in_parallel_out_register_minus(0b00111100);
	write_serial_in_parallel_out_register_plus(0b00010000);
	LL_mDelay(2);
//		//row : 4
	write_serial_in_parallel_out_register_minus(0b10011001);
	write_serial_in_parallel_out_register_plus(0b00001000);
	LL_mDelay(2);
//		//row : 5
	write_serial_in_parallel_out_register_minus(0b11000011);
	write_serial_in_parallel_out_register_plus(0b00000100);
	LL_mDelay(2);
	//row : 6
	write_serial_in_parallel_out_register_minus(0b11100111);
	write_serial_in_parallel_out_register_plus(0b00000010);
	LL_mDelay(2);

	//row : 7
}

void heart_example_3(void){
	 //row : 0

	 //row : 1
	write_serial_in_parallel_out_register_minus(0b10011001);
	write_serial_in_parallel_out_register_plus(0b01000000);
	LL_mDelay(2);
	//row : 2
	write_serial_in_parallel_out_register_minus(0b00000000);
	write_serial_in_parallel_out_register_plus(0b00100000);
	LL_mDelay(2);
	//row : 3
	write_serial_in_parallel_out_register_minus(0b00000000);
	write_serial_in_parallel_out_register_plus(0b00010000);
	LL_mDelay(2);
//		//row : 4
	write_serial_in_parallel_out_register_minus(0b10000001);
	write_serial_in_parallel_out_register_plus(0b00001000);
	LL_mDelay(2);
//		//row : 5
	write_serial_in_parallel_out_register_minus(0b11000011);
	write_serial_in_parallel_out_register_plus(0b00000100);
	LL_mDelay(2);
	//row : 6
	write_serial_in_parallel_out_register_minus(0b11100111);
	write_serial_in_parallel_out_register_plus(0b00000010);
	LL_mDelay(2);

	//row : 7
}

void heart_example_4(void){
	 //row : 0

////	 //row : 1
	write_serial_in_parallel_out_register_plus(0b10000000);
	write_serial_in_parallel_out_register_minus_yellow(0b00000000);
	LL_mDelay(5);
////	//row : 2
	write_serial_in_parallel_out_register_plus(0b00000000);
	write_serial_in_parallel_out_register_minus_yellow(0b00000000);
	LL_mDelay(5);
////	//row : 3
	write_serial_in_parallel_out_register_plus(0b00100000);
	write_serial_in_parallel_out_register_minus_yellow(0b00000000);
	LL_mDelay(5);
////	//row : 4
	write_serial_in_parallel_out_register_plus(0b00000000);
	write_serial_in_parallel_out_register_minus_yellow(0b00000000);
	LL_mDelay(5);
////	//row : 5
	write_serial_in_parallel_out_register_plus(0b00001000);
	write_serial_in_parallel_out_register_minus_yellow(0b00000000);
	LL_mDelay(5);
////	//row : 6
	write_serial_in_parallel_out_register_plus(0b00000000);
	write_serial_in_parallel_out_register_minus_yellow(0b00000000);
	LL_mDelay(5);
////
////
////	//row : 7
	write_serial_in_parallel_out_register_plus(0b00000010);
	write_serial_in_parallel_out_register_minus_yellow(0b00000000);
	LL_mDelay(5);
}

/* USER CODE END 4 */

void Error_Handler(void)
{
  __disable_irq();
  while (1)
  {
  }
}
